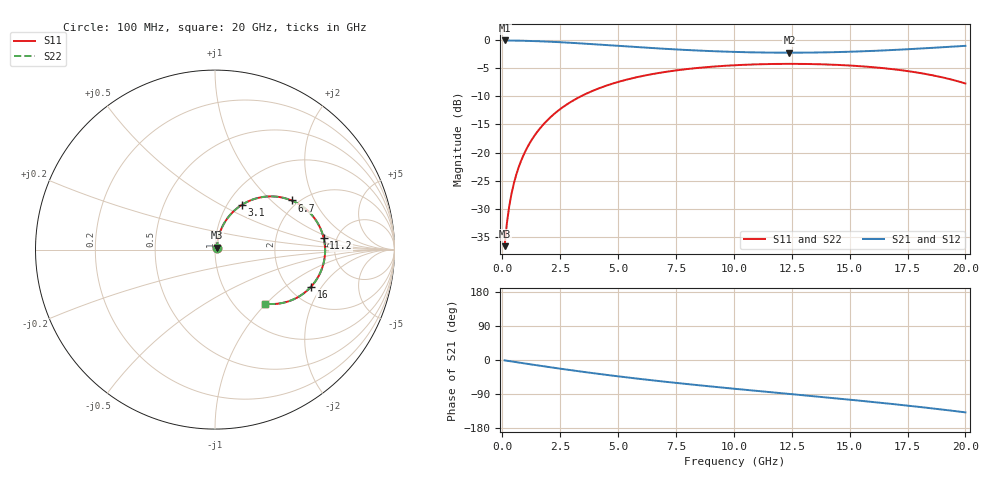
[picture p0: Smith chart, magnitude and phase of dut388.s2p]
! Touchstone file exported from HFSS 2026.1.0
!  File:  C:/ffzhzh/LocalFiles/Ansys_Project_Files/temp_train_TSV_RDL_388_1783090589_35180.aedt
!  Generated:  11:05:34 PM Jul  3, 2026
!  Design:  TSV_RDL
!  Project:  temp_train_TSV_RDL_388_1783090589_35180
! Variables:
!  h_bsmrdl = 5.53um
!  h_ox = 20um
!  h_rdl = 5um
!  h_sub = 57.6um
!  h_tmrdl = 4.32um
!  h_tsv = 57.6um
!  h_via = 3um
!  l_bsmrdl = 393.55um
!  l_sub = 2596.28um
!  l_tmrdl = 225.28um
!  m_sub = 200um
!  pitch = 56.27um
!  r_tsv = 8.18um
!  s_tmrdl = 10um
!  w_bsmrdl = 13.64um
!  w_sub = 500um
!  w_tmrdl = 24.53um
!  x_tsv_center1 = 237.545um
!  x_tsv_center2 = 644.735um
!  x_tsv_center3 = 894.545um
!  x_tsv_center4 = 1301.735um
!  x_tsv_center5 = 1551.545um
!  x_tsv_center6 = 1958.735um
# GHz S MA R 50.000000
! Terminal data exported
! Port[1] = TM_RDL1_1_T1
! Port[2] = TM_RDL5_1_T1
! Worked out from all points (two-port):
!   200 points, 100 MHz to 20 GHz, reference 50 ohm
!   highest |S21| = -0.09 dB at 100 MHz (marker M1); lowest = -2.3 dB at 12.4 GHz (marker M2)
!   |S21| within 3 dB of the highest: start of sweep to end of sweep
!   lowest |S11| = -36.6 dB at 100 MHz (marker M3), VSWR 1.03, Z = 51 + j1.08 ohm
!   |S11| at or under -10 dB: start of sweep to 3.397 GHz
!   |S22| runs from -36.6 to -4.2 dB; largest |S21 - S12| = 2.2e-13
!   S11 on the Smith chart (normalised r, x): 100 MHz: 1.02, +0.02; 3.1 GHz: 1.17, +0.64; 6.7 GHz: 1.84, +1.36; 11.2 GHz: 3.95, +0.79; 16 GHz: 2.58, -1.60; 20 GHz: 1.36, -0.99
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0.1  0.01476 46.0  0.9899 -1.0  0.9899 -1.0  0.01476 46.0
! Gamma 0 0 0 0
! Port Impedance 50 0 50 0
0.2  0.02374 62.0  0.9894 -1.9  0.9894 -1.9  0.02374 62.0
0.3  0.03344 68.4  0.9888 -2.9  0.9888 -2.9  0.03344 68.4
0.4  0.04333 71.5  0.9881 -3.8  0.9881 -3.8  0.04333 71.5
0.7  0.07332 74.3  0.9858 -6.6  0.9858 -6.6  0.07332 74.3
1  0.1032 73.9  0.9826 -9.4  0.9826 -9.4  0.1032 73.9
1.4  0.1423 71.7  0.977 -13.1  0.977 -13.1  0.1423 71.7
1.9  0.1896 68.2  0.9681 -17.6  0.9681 -17.6  0.1896 68.2
3.1  0.2931 58.8  0.94 -28.0  0.94 -28.0  0.2931 58.8
3.5  0.324 55.7  0.9292 -31.3  0.9292 -31.3  0.324 55.7
5  0.4237 44.4  0.8869 -43.1  0.8869 -43.1  0.4237 44.4
6.7  0.507 32.7  0.8421 -55.1  0.8421 -55.1  0.507 32.7
6.8  0.511 32.0  0.8397 -55.8  0.8397 -55.8  0.511 32.1
8.5  0.5659 21.4  0.8045 -66.7  0.8045 -66.7  0.5659 21.4
10.1  0.5974 12.1  0.7824 -76.4  0.7824 -76.4  0.5974 12.1
11.2  0.6092 5.9  0.7738 -82.7  0.7738 -82.7  0.6092 5.9
12.4  0.6136 -0.8  0.7705 -89.6  0.7705 -89.6  0.6136 -0.8
13.4  0.6107 -6.3  0.7728 -95.3  0.7728 -95.3  0.6106 -6.3
16  0.5733 -21.2  0.7993 -110.8  0.7993 -110.8  0.5733 -21.2
16.7  0.5551 -25.4  0.8112 -115.2  0.8112 -115.2  0.5551 -25.4
18.5  0.4894 -36.9  0.8494 -127.2  0.8494 -127.2  0.4894 -36.8
20  0.4109 -47.1  0.8866 -138.2  0.8866 -138.2  0.4109 -47.1
